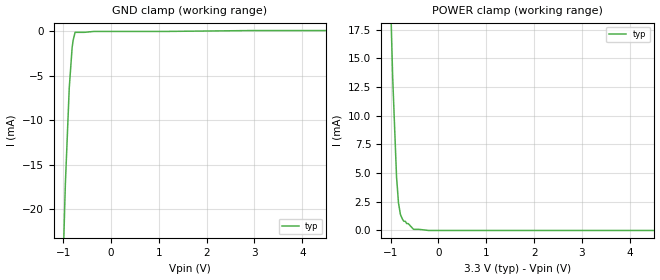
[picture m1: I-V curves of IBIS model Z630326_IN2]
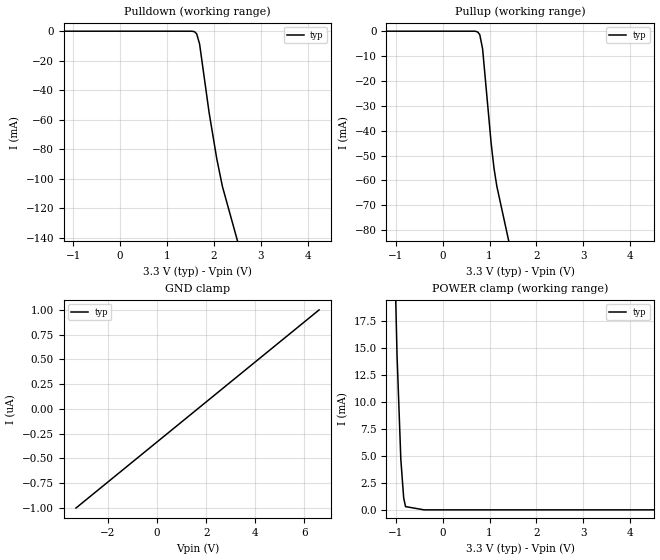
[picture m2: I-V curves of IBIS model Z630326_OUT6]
| YOU ARE ONLY AUTHORIZED TO USE THIS SOFTWARE
| ACCORDING TO LICENSOR'S LICENSE RESTRICTIONS.
[IBIS Ver] 3.1
[File Name] mc10lvep11d_33.ibs
[File Rev] 2
[Source] Derived EP16 from Measured and created by ICX Technology
[Date] 2/26/2004
[Copyright]
| (C) COPYRIGHT 1993-2000
| MENTOR GRAPHICS CORPORATION
| ICX STANDARD LIBRARY, ICX PROJECT MODELING,
| ICX CUSTOM MODELING, ICX VENDOR MODEL
| ALL RIGHTS RESERVED.
| THE FOLLOWING ARE TRADEMARKS OR SERVICE MARKS OF
| MENTOR GRAPHICS CORPORATION:ICX (R), ICX STANDARD
| LIBRARY(R), ICX PROJECT MODELING(R), ICX CUSTOM
| MODELING(R), qualityIBIS(TM), MODELVIEWER(TM),
| AND MODELEDITOR(TM)
| ALL COPIES OF SOFTWARE, INCLUDING BUT NOT LIMITED TO
| ANY MODIFICATIONS, ENHANCEMENTS OR DERIVATIVE WORKS,
| MUST CONTAIN ALL MENTOR GRAPHICS CORPORATION'S
| NOTICES AND LEGENDS, INCLUDING THOSE EMBEDDED IN
| SOFTWARE AND THOSE AFFIXED TO SOFTWARE MEDIUM
| AND CONTAINER, AS RECEIVED FROM MENTOR GRAPHICS
| CORPORATION.
|  ZAP Model Builder 2.7
[Component] MC10LVEP11D_33
[Manufacturer] OnSemiconductor
[Package]
| variable   typ   min   max
R_pkg  .152ohms NA NA
L_pkg  2.714nH NA NA
C_pkg  .364pF NA NA
[Pin] signal_name  model_name  R_pin  L_pin C_pin
1  Q   Z630326_OUT6  .15   2.504n   .354p
2  _Q   Z630326_OUT6  .15   2.504n   .354p
3  Q   Z630326_OUT6  .15   2.504n   .354p
4  _Q   Z630326_OUT6  .15   2.504n   .354p
5  VEE  GND   .154   2.924n   .374p
6  _D   Z630326_IN2   .15   2.504n   .354p
7 D  Z630326_IN2   .15   2.504n   .354p
8 VCC  POWER   .154   2.924n   .374p
[Diff Pin] inv_pin vdiff tdelay_typ tdelay_min tdelay_max
7 6 150mv NA NA NA
1 2 NA .005ns NA .02ns
3 4 NA .005ns NA .02ns
| Models and submodels in the file (2): Z630326_IN2 (Input_ECL), Z630326_OUT6 (Output_ECL)
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| (C) COPYRIGHT 1993-2000
| MENTOR GRAPHICS CORPORATION
| ICX STANDARD LIBRARY, ICX PROJECT MODELING,
| ICX CUSTOM MODELING, ICX VENDOR MODEL
| ALL RIGHTS RESERVED.
| THE FOLLOWING ARE TRADEMARKS OR SERVICE MARKS OF
| MENTOR GRAPHICS CORPORATION:ICX (R), ICX STANDARD
| LIBRARY(R), ICX PROJECT MODELING(R), ICX CUSTOM
| MODELING(R), qualityIBIS(TM), MODELVIEWER(TM),
| AND MODELEDITOR(TM)
| ALL COPIES OF SOFTWARE, INCLUDING BUT NOT LIMITED TO
| ANY MODIFICATIONS, ENHANCEMENTS OR DERIVATIVE WORKS,
| MUST CONTAIN ALL MENTOR GRAPHICS CORPORATION'S
| NOTICES AND LEGENDS, INCLUDING THOSE EMBEDDED IN
| SOFTWARE AND THOSE AFFIXED TO SOFTWARE MEDIUM
| AND CONTAINER, AS RECEIVED FROM MENTOR GRAPHICS
| CORPORATION.
| Model Application Version 1.89 2/18/99.
[Model] Z630326_IN2
Model_type Input_ECL
Vinl = 1.755V
Vinh = 2.155V
C_comp 2.000pF NA NA
| variable typ   min   max
[Voltage Range] 3.300V NA NA
[GND Clamp Reference] 0.000V NA NA
[POWER Clamp Reference] 3.300V NA NA
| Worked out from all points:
|   GND clamp passes 1 mA (typ) near -0.79 V on its own axis
|   POWER clamp passes 1 mA (typ) near -0.75 V on its own axis
[GND Clamp]
-3.3V     -459.2mA   NA         NA
-953mV    -17.2mA    NA         NA
-871mV    -6.3mA     NA         NA
-811mV    -1.8mA     NA         NA
-790mV    -1mA       NA         NA
-749.8mV  -100uA     NA         NA
-552.3mV  -100uA     NA         NA
-354.8mV  0A         NA         NA
1.136V    0A         NA         NA
2.96V     100uA      NA         NA
6.6V      100uA      NA         NA
[POWER Clamp]
-3.3V     452.1mA    NA         NA
-1.058V   29mA       NA         NA
-957mV    13.4mA     NA         NA
-876mV    4.7mA      NA         NA
-835mV    2.4mA      NA         NA
-795mV    1.4mA      NA         NA
-754mV    1mA        NA         NA
-723.5mV  800uA      NA         NA
-632mV    600uA      NA         NA
-520.5mV  100uA      NA         NA
-204.5mV  0A         NA         NA
6.6V      0A         NA         NA
| (C) COPYRIGHT 1993-2000
| MENTOR GRAPHICS CORPORATION
| ICX STANDARD LIBRARY, ICX PROJECT MODELING,
| ICX CUSTOM MODELING, ICX VENDOR MODEL
| ALL RIGHTS RESERVED.
| THE FOLLOWING ARE TRADEMARKS OR SERVICE MARKS OF
| MENTOR GRAPHICS CORPORATION:ICX (R), ICX STANDARD
| LIBRARY(R), ICX PROJECT MODELING(R), ICX CUSTOM
| MODELING(R), qualityIBIS(TM), MODELVIEWER(TM),
| AND MODELEDITOR(TM)
| ALL COPIES OF SOFTWARE, INCLUDING BUT NOT LIMITED TO
| ANY MODIFICATIONS, ENHANCEMENTS OR DERIVATIVE WORKS,
| MUST CONTAIN ALL MENTOR GRAPHICS CORPORATION'S
| NOTICES AND LEGENDS, INCLUDING THOSE EMBEDDED IN
| SOFTWARE AND THOSE AFFIXED TO SOFTWARE MEDIUM
| AND CONTAINER, AS RECEIVED FROM MENTOR GRAPHICS
| CORPORATION.
| Model Application Version 1.89 2/18/99.
[Model] Z630326_OUT6
Model_type Output_ECL
Vref=1.300V
Rref=50.00ohms
Cref=0.000F
Vmeas=1.955V
C_comp 2.000pF NA NA
| variable typ   min   max
[Voltage Range] 3.300V NA NA
[POWER Clamp Reference] 3.300V NA NA
[Pullup Reference] 3.300V NA NA
[Pulldown Reference] 3.300V NA NA
[GND Clamp Reference] 0.000V NA NA
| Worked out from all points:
|   POWER clamp passes 1 mA (typ) near -0.83 V on its own axis
[GND Clamp]
-3.3V     -1uA       NA         NA
6.6V      1uA        NA         NA
[Pulldown]
-3.3V     0A         NA         NA
1.511V    0A         NA         NA
1.572V    -200uA     NA         NA
1.592V    -500uA     NA         NA
1.633V    -1.9mA     NA         NA
1.694V    -8.7mA     NA         NA
1.896V    -55mA      NA         NA
2.059V    -86.2mA    NA         NA
2.18V     -105.1mA   NA         NA
6.6V      -612.3mA   NA         NA
[Pullup]
-3.3V     0A         NA         NA
690mV     0A         NA         NA
731mV     -200uA     NA         NA
751mV     -400uA     NA         NA
792mV     -1.4mA     NA         NA
852mV     -7.1mA     NA         NA
1.035V    -45.2mA    NA         NA
1.096V    -55.2mA    NA         NA
1.156V    -62.4mA    NA         NA
6.6V      -534mA     NA         NA
[POWER Clamp]
-3.3V     442.4mA    NA         NA
-972mV    14.4mA     NA         NA
-891mV    4.7mA      NA         NA
-830mV    1.1mA      NA         NA
-790mV    300uA      NA         NA
-395mV    0A         NA         NA
6.6V      0A         NA         NA
[Ramp]
| variable typ min max
dV/dt_r 365.9m/82.84p NA NA
dV/dt_f 365.9m/94.91p NA NA
R_load = 50.00Ohms
